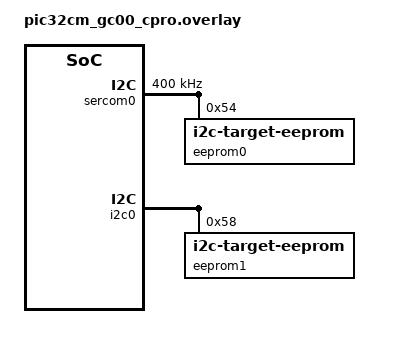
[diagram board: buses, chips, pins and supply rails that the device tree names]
/*
 * Copyright (c) 2026 Microchip Technology Inc.
 *
 * SPDX-License-Identifier: Apache-2.0
 */

/* Connect EXT1 (J400): Pin 11 (PD1) to Pin 5 (PC0) SDA, Pin 12 (PD0) to Pin 6 (PC1) SCL */

&pinctrl {
	sercom0_i2c_default: sercom0_i2c_default {
		group1 {
			pinmux = <PC0D_SERCOM0_PAD0>,  /* SDA */
				 <PC1D_SERCOM0_PAD1>;  /* SCL */
		};
	};
};

&sercom0 {
	compatible = "microchip,sercom-g1-i2c";
	#address-cells = <1>;
	#size-cells = <0>;
	clock-frequency = <I2C_BITRATE_FAST>;
	pinctrl-0 = <&sercom0_i2c_default>;
	pinctrl-names = "default";
	status = "okay";

	eeprom0: eeprom@54 {
		compatible = "zephyr,i2c-target-eeprom";
		reg = <0x54>;
		size = <256>;
	};
};

/* sercom1 already defined in board DTS as i2c0 */
&i2c0 {
	eeprom1: eeprom@58 {
		compatible = "zephyr,i2c-target-eeprom";
		reg = <0x58>;
		size = <256>;
	};
};
